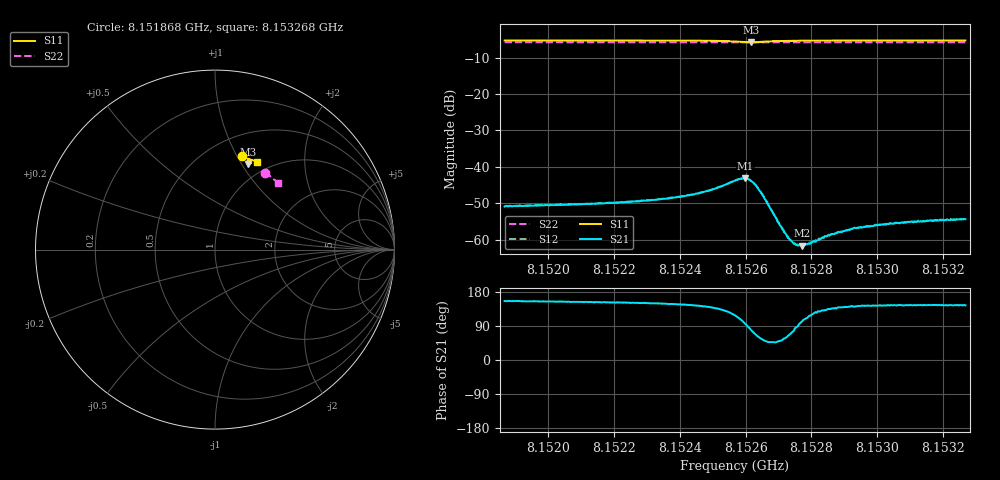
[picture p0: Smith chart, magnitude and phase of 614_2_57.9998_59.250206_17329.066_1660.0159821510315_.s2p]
#  HZ  S  RI  R  50.00
! Rohde & Schwarz Vector Network Analyzer
! Rohde-Schwarz,ZNB20-2Port,1311601062101988,3.16
! Created: UTC 3/21/2024, 1:17:51 AM
! freq[Hz]  re:S11  im:S11  re:S21  im:S21  re:S12  im:S12  re:S22  im:S22
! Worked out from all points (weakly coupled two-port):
!   401 points, 8.151868 GHz to 8.153268 GHz, reference 50 ohm
!   highest |S21| = -43.19 dB at 8.152599 GHz (marker M1); lowest = -61.6 dB at 8.152771 GHz (marker M2)
!   lowest |S11| = -5.8 dB at 8.152617 GHz (marker M3), VSWR 3.09, Z = 41.4 + j53.5 ohm
!   |S11| at or under -10 dB: nowhere
!   |S22| runs from -5.9 to -5.8 dB; largest |S21 - S12| = 0.00013
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8.151868e9  0.1485 0.5195  -0.0026 0.00118  -0.00263 0.00122  0.2798 0.4289
8.1521024e9  0.1652 0.5147  -0.00274 0.00137  -0.00275 0.00141  0.2919 0.4203
8.1523369e9  0.1827 0.5084  -0.00309 0.00184  -0.00304 0.00189  0.304 0.4113
8.1523964e9  0.1877 0.5062  -0.00322 0.00212  -0.00325 0.00217  0.3071 0.4089
8.1524628e9  0.194 0.5023  -0.00348 0.00267  -0.00351 0.00273  0.3104 0.4061
8.1525083e9  0.1986 0.4977  -0.00367 0.00346  -0.00367 0.00353  0.3126 0.4042
8.1525678e9  0.2016 0.485  -0.00301 0.0057  -0.00295 0.00578  0.3155 0.4015
8.1525993e9  0.1932 0.4763  -0.000619 0.0069  -0.000576 0.00693  0.3165 0.4
8.1526168e9  0.1849 0.477  0.0012 0.00628  0.00127 0.00631  0.317 0.3996
8.1526308e9  0.1801 0.4814  0.00216 0.00513  0.00225 0.00514  0.3174 0.3992
8.1526483e9  0.1784 0.4884  0.00244 0.00354  0.00254 0.00358  0.3184 0.3987
8.1527043e9  0.1868 0.4996  0.00101 0.00121  0.00106 0.00122  0.3213 0.3969
8.1527288e9  0.1906 0.5008  0.000465 0.000946  0.000506 0.000971  0.3229 0.3959
8.1527393e9  0.1922 0.5009  0.0003 0.000919  0.000317 0.000889  0.3234 0.3956
8.1527498e9  0.1935 0.5011  0.000102 0.000871  0.000121 0.000882  0.3238 0.3951
8.1527603e9  0.195 0.5012  -2.29e-05 0.000842  3.75e-06 0.000813  0.3245 0.3945
8.1527708e9  0.1962 0.5012  -0.000164 0.000814  -0.000111 0.000839  0.325 0.3942
8.1528023e9  0.1998 0.5007  -0.000474 0.000791  -0.000455 0.000815  0.3265 0.3929
8.1528582e9  0.2052 0.4997  -0.00083 0.000834  -0.000804 0.00086  0.3292 0.3905
8.1529282e9  0.2111 0.498  -0.00112 0.000915  -0.00108 0.000905  0.3327 0.3876
8.1530367e9  0.2192 0.4951  -0.00132 0.000968  -0.00136 0.000982  0.3378 0.3828
8.1532676e9  0.2351 0.4886  -0.00155 0.00112  -0.00156 0.00114  0.3486 0.3728
